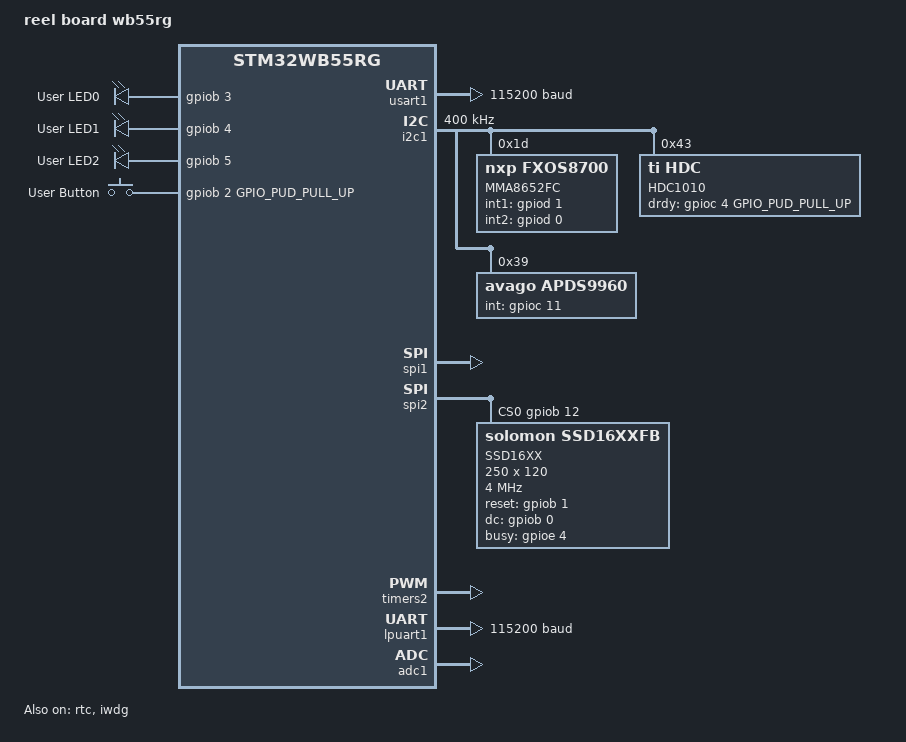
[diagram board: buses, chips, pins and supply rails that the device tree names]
/*
 * Copyright (c) 2019 Linaro Limited
 * Copyright (c) 2019 PHYTEC Messtechnik GmbH
 *
 * SPDX-License-Identifier: Apache-2.0
 */

/dts-v1/;
#include <st/wb/stm32wb55Xg.dtsi>
#include "arduino_r3_connector.dtsi"

/ {
	model = "reel board wb55rg";
	compatible = "phytec,reel_board_wb55rg", "st,stm32wb55rg";

	chosen {
		zephyr,console = &usart1;
		zephyr,shell-uart = &usart1;
		zephyr,bt-mon-uart = &lpuart1;
		zephyr,sram = &sram0;
		zephyr,flash = &flash0;
		zephyr,code-partition = &slot0_partition;
	};

	leds {
		compatible = "gpio-leds";
		red_led: led_0 {
			gpios = <&gpiob 3 0>;
			label = "User LED0";
		};
		green_led: led_1 {
			gpios = <&gpiob 4 0>;
			label = "User LED1";
		};
		blue_led: led_2 {
			gpios = <&gpiob 5 0>;
			label = "User LED2";
		};
	};

	gpio_keys {
		compatible = "gpio-keys";
		user_button: button_0 {
			gpios = <&gpiob 2 GPIO_PUD_PULL_UP>;
			label = "User Button";
		};
	};

	aliases {
		led0 = &red_led;
		led1 = &green_led;
		led2 = &blue_led;
		sw0 = &user_button;
	};
};

&usart1 {
	current-speed = <115200>;
	status = "okay";
};

&i2c1 {
	status = "okay";
	clock-frequency = <I2C_BITRATE_FAST>;

	mma8652fc@1d {
		compatible = "nxp,fxos8700","nxp,mma8652fc";
		reg = <0x1d>;
		label = "MMA8652FC";
		int1-gpios = <&gpiod 1 0>;
		int2-gpios = <&gpiod 0 0>;
	};

	ti_hdc@43 {
		compatible = "ti,hdc","ti,hdc1010";
		reg = <0x43>;
		label = "HDC1010";
		drdy-gpios = <&gpioc 4 GPIO_PUD_PULL_UP>;
	};

	apds9960@39 {
		compatible = "avago,apds9960";
		reg = <0x39>;
		label = "APDS9960";
		int-gpios = <&gpioc 11 0>;
	};
};

&rtc {
	status = "okay";
};

&spi1 {
	status = "okay";
};

&spi2 {
	status = "okay";
	cs-gpios = <&gpiob 12 0>;

	ssd16xxfb@0 {
		compatible = "solomon,ssd16xxfb", "gooddisplay,gdeh0213b72";
		label = "SSD16XX";
		spi-max-frequency = <4000000>;
		reg = <0>;
		width = <250>;
		height = <120>;
		pp-width-bits = <8>;
		pp-height-bits = <16>;
		reset-gpios = <&gpiob 1 0>;
		dc-gpios = <&gpiob 0 0>;
		busy-gpios = <&gpioe 4 0>;
		gdv = [15];
		sdv = [41 a8 32];
		vcom = <0x26>;
		border-waveform = <0x03>;
		lut-initial = [
			/*
			 * Waveform Composition
			 *
			 * There are 7 Voltage Source (VS) Level groups
			 * n = {0,1,2...6}, each group contains
			 * 4 phases x = {A,B,C,D}.
			 * 2 bits represent the voltage in a phase:
			 * 00 – VSS, 01 – VSH1, 10 – VSL, 11 - VSH2
			 *
			 * For example 0x80 represents sequence VSL-VSS-VSS-VSS,
			 */
			80 60 40 00 00 00 00 /* LUT0: BB: VS 0..6 */
			10 60 20 00 00 00 00 /* LUT1: BW: VS 0..6 */
			80 60 40 00 00 00 00 /* LUT2: WB: VS 0..6 */
			10 60 20 00 00 00 00 /* LUT3: WW: VS 0..6 */
			00 00 00 00 00 00 00 /* LUT4: VCOM: VS 0..6 */
			/*
			 * TPnx determines the length of each phase,
			 * and RPn repeat count of a sequence.
			 * TPnA, TPnB, TPnC, TPnD, RPn
			 *
			 * For example TP0A=3, TP0B=3, and RP0=2:
			 * VS sequence                    : VSL-VSS-VSS-VSS
			 * number of Gate Pulses (length) :  3   3   0   0
			 * repeat count                   :        2
			 */
			03 03 00 00 02 /* TP0A TP0B TP0C TP0D RP0 */
			09 09 00 00 02 /* TP1A TP1B TP1C TP1D RP1 */
			03 03 00 00 02 /* TP2A TP2B TP2C TP2D RP2 */
			00 00 00 00 00 /* TP3A TP3B TP3C TP3D RP3 */
			00 00 00 00 00 /* TP4A TP4B TP4C TP4D RP4 */
			00 00 00 00 00 /* TP5A TP5B TP5C TP5D RP5 */
			00 00 00 00 00 /* TP6A TP6B TP6C TP6D RP6 */
		];

		lut-default = [
			00 00 00 00 00 00 00 /* LUT0: BB: VS0..6 */
			80 00 00 00 00 00 00 /* LUT1: BW: VS0..6 */
			40 00 00 00 00 00 00 /* LUT2: WB: VS0..6 */
			80 00 00 00 00 00 00 /* LUT3: WW: VS0..6 */
			00 00 00 00 00 00 00 /* LUT4: VCOM: VS0..6 */
			0A 00 00 00 04 /* TP0A TP0B TP0C TP0D RP0 */
			00 00 00 00 00 /* TP1A TP1B TP1C TP1D RP1 */
			00 00 00 00 00 /* TP2A TP2B TP2C TP2D RP2 */
			00 00 00 00 00 /* TP3A TP3B TP3C TP3D RP3 */
			00 00 00 00 00 /* TP4A TP4B TP4C TP4D RP4 */
			00 00 00 00 00 /* TP5A TP5B TP5C TP5D RP5 */
			00 00 00 00 00 /* TP6A TP6B TP6C TP6D RP6 */
		];
	};
};

&timers2 {
	status = "okay";
	pwm {
		status = "okay";
	};
};

&lpuart1 {
	current-speed = <115200>;
	status = "okay";
};

&adc1 {
	status = "okay";
};

&iwdg {
	status = "okay";
};

&flash0 {
	/*
	 * For more information, see:
	 * http://docs.zephyrproject.org/latest/devices/dts/flash_partitions.html
	 */
	partitions {
		compatible = "fixed-partitions";
		#address-cells = <1>;
		#size-cells = <1>;

		/* Set all partitions with first 812K of flash */
		/* last 212K are reseved for M0 usage */
		/* Configure partitions to make use of the whole 812K */

		boot_partition: partition@0 {
			label = "mcuboot";
			reg = <0x00000000 0xc000>;
		};
		slot0_partition: partition@c000 {
			label = "image-0";
			reg = <0x0000C000 0x5b800>;
		};
		slot1_partition: partition@67800 {
			label = "image-1";
			reg = <0x00067800 0x5b800>;
		};
		scratch_partition: partition@c3000 {
			label = "image-scratch";
			reg = <0x000c3000 0x4000>;
		};
		storage_partition: partition@c7000 {
			label = "storage";
			reg = <0x000c7000 0x4000>;
		};

	};
};
